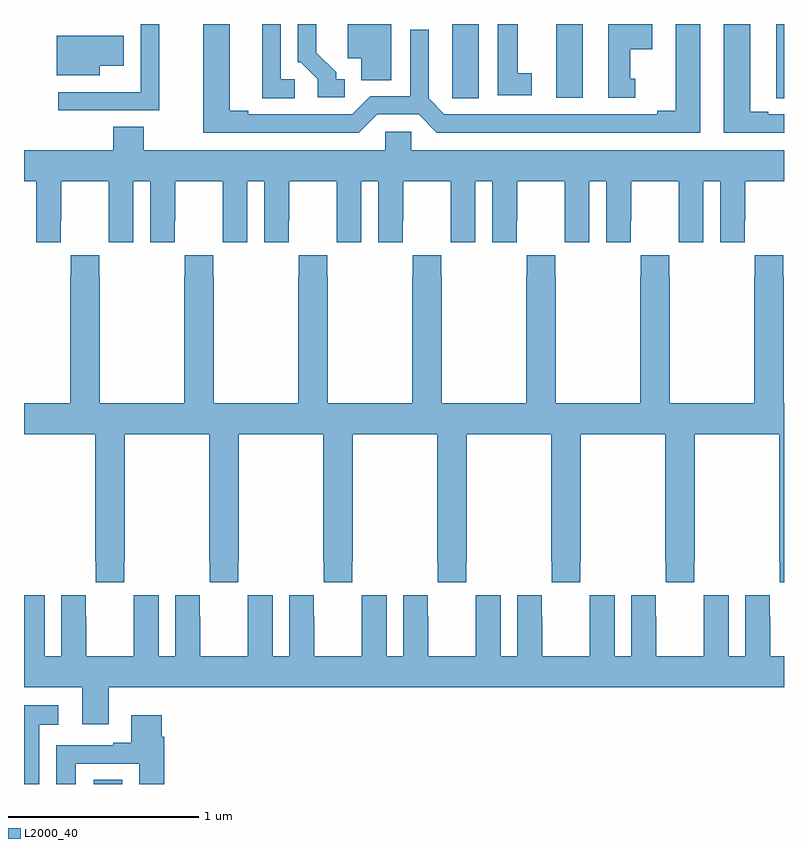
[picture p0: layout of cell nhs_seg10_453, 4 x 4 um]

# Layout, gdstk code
import gdstk
lib = gdstk.Library(unit=1e-6, precision=1e-09)
def R(c, l, rs):  # rectangles x0, y0, x1, y1
    for r in rs: c.add(gdstk.rectangle(r[:2], r[2:], *l))
def P(c, l, *ps):  # polygons
    for p in ps: c.add(gdstk.Polygon(p, *l))
L2000_40 = (2000, 40)

nhs_seg10_453 = lib.new_cell('nhs_seg10_453')
R(nhs_seg10_453, L2000_40, [(133.367,1274.5,133.516,1274.522), (135.8,1278.111,135.94,1278.5)])
P(nhs_seg10_453, L2000_40, [(135.673,1278.242),(135.598,1278.242),(135.598,1278.5),(135.494,1278.5),(135.494,1278.126),(135.673,1278.126)],
  [(137,1278.024),(136.918,1278.024),(136.918,1278.039),(136.822,1278.039),(136.822,1278.5),(136.682,1278.5),(136.682,1277.928),(137,1277.928)],
  [(136.216,1278.213),(136.192,1278.213),(136.192,1278.368),(136.306,1278.368),(136.306,1278.5),(136.076,1278.5),(136.076,1278.111),(136.216,1278.111)],
  [(137,1278.5),(136.958,1278.5),(136.958,1278.217),(136.959,1278.217),(136.959,1278.109),(137,1278.109)],
  [(134.859,1278.024),(135.077,1278.024),(135.173,1277.928),(136.558,1277.928),(136.558,1278.5),(136.43,1278.5),(136.43,1278.044),(136.334,1278.044),(136.334,1278.024),(135.213,1278.024),(135.129,1278.108),(135.129,1278.469),(135.033,1278.469),(135.033,1278.12),(134.823,1278.12),(134.727,1278.024),(134.179,1278.024),(134.179,1278.044),(134.083,1278.044),(134.083,1278.5),(133.943,1278.5),(133.943,1277.928),(134.763,1277.928)],
  [(134.689,1278.21),(134.644,1278.21),(134.644,1278.245),(134.539,1278.35),(134.539,1278.5),(134.442,1278.5),(134.442,1278.3),(134.457,1278.3),(134.547,1278.21),(134.547,1278.114),(134.689,1278.114)],
  [(133.713,1278.5),(133.614,1278.5),(133.614,1278.142),(133.613,1278.142),(133.613,1278.141),(133.179,1278.141),(133.179,1278.045),(133.713,1278.045)],
  [(134.425,1278.21),(134.352,1278.21),(134.352,1278.5),(134.255,1278.5),(134.255,1278.109),(134.425,1278.109)],
  [(135.394,1278.5),(135.254,1278.5),(135.254,1278.217),(135.255,1278.217),(135.255,1278.109),(135.394,1278.109)],
  [(134.932,1278.5),(134.705,1278.5),(134.705,1278.32),(134.774,1278.32),(134.774,1278.205),(134.932,1278.205)],
  [(133.399,1278.281),(133.525,1278.281),(133.525,1278.439),(133.172,1278.439),(133.172,1278.23),(133.399,1278.23)],
  [(133.194,1277.464),(133.195,1277.464),(133.195,1277.672),(133.445,1277.672),(133.445,1277.464),(133.446,1277.464),(133.446,1277.352),(133.576,1277.352),(133.576,1277.672),(133.664,1277.672),(133.664,1277.352),(133.794,1277.352),(133.794,1277.464),(133.795,1277.464),(133.795,1277.672),(134.045,1277.672),(134.045,1277.464),(134.046,1277.464),(134.046,1277.352),(134.176,1277.352),(134.176,1277.672),(134.264,1277.672),(134.264,1277.352),(134.394,1277.352),(134.394,1277.464),(134.395,1277.464),(134.395,1277.672),(134.645,1277.672),(134.645,1277.464),(134.646,1277.464),(134.646,1277.352),(134.776,1277.352),(134.776,1277.672),(134.864,1277.672),(134.864,1277.352),(134.994,1277.352),(134.994,1277.464),(134.995,1277.464),(134.995,1277.672),(135.245,1277.672),(135.245,1277.464),(135.246,1277.464),(135.246,1277.352),(135.376,1277.352),(135.376,1277.672),(135.464,1277.672),(135.464,1277.352),(135.594,1277.352),(135.594,1277.464),(135.595,1277.464),(135.595,1277.672),(135.845,1277.672),(135.845,1277.464),(135.846,1277.464),(135.846,1277.352),(135.976,1277.352),(135.976,1277.672),(136.064,1277.672),(136.064,1277.352),(136.194,1277.352),(136.194,1277.464),(136.195,1277.464),(136.195,1277.672),(136.445,1277.672),(136.445,1277.464),(136.446,1277.464),(136.446,1277.352),(136.576,1277.352),(136.576,1277.672),(136.664,1277.672),(136.664,1277.352),(136.794,1277.352),(136.794,1277.464),(136.795,1277.464),(136.795,1277.672),(137,1277.672),(137,1277.836),(135.039,1277.836),(135.039,1277.934),(134.901,1277.934),(134.901,1277.836),(133.629,1277.836),(133.629,1277.96),(133.469,1277.96),(133.469,1277.836),(133,1277.836),(133,1277.672),(133.064,1277.672),(133.064,1277.352),(133.194,1277.352)],
  [(135.175,1275.673),(135.177,1275.673),(135.177,1275.561),(135.327,1275.561),(135.327,1275.673),(135.33,1275.673),(135.33,1276.34),(135.775,1276.34),(135.775,1275.673),(135.777,1275.673),(135.777,1275.561),(135.927,1275.561),(135.927,1275.673),(135.93,1275.673),(135.93,1276.34),(136.375,1276.34),(136.375,1275.673),(136.377,1275.673),(136.377,1275.561),(136.527,1275.561),(136.527,1275.673),(136.53,1275.673),(136.53,1276.34),(136.975,1276.34),(136.975,1275.673),(136.977,1275.673),(136.977,1275.561),(137,1275.561),(137,1276.504),(136.998,1276.504),(136.998,1277.171),(136.995,1277.171),(136.995,1277.284),(136.845,1277.284),(136.845,1277.171),(136.843,1277.171),(136.843,1276.504),(136.398,1276.504),(136.398,1277.171),(136.395,1277.171),(136.395,1277.284),(136.245,1277.284),(136.245,1277.171),(136.243,1277.171),(136.243,1276.504),(135.798,1276.504),(135.798,1277.171),(135.795,1277.171),(135.795,1277.284),(135.645,1277.284),(135.645,1277.171),(135.643,1277.171),(135.643,1276.504),(135.198,1276.504),(135.198,1277.171),(135.195,1277.171),(135.195,1277.284),(135.045,1277.284),(135.045,1277.171),(135.043,1277.171),(135.043,1276.504),(134.598,1276.504),(134.598,1277.171),(134.595,1277.171),(134.595,1277.284),(134.445,1277.284),(134.445,1277.171),(134.443,1277.171),(134.443,1276.504),(133.998,1276.504),(133.998,1277.171),(133.995,1277.171),(133.995,1277.284),(133.845,1277.284),(133.845,1277.171),(133.843,1277.171),(133.843,1276.504),(133.398,1276.504),(133.398,1277.171),(133.395,1277.171),(133.395,1277.284),(133.245,1277.284),(133.245,1277.171),(133.243,1277.171),(133.243,1276.504),(133,1276.504),(133,1276.34),(133.375,1276.34),(133.375,1275.673),(133.377,1275.673),(133.377,1275.561),(133.527,1275.561),(133.527,1275.673),(133.53,1275.673),(133.53,1276.34),(133.975,1276.34),(133.975,1275.673),(133.977,1275.673),(133.977,1275.561),(134.127,1275.561),(134.127,1275.673),(134.13,1275.673),(134.13,1276.34),(134.575,1276.34),(134.575,1275.673),(134.577,1275.673),(134.577,1275.561),(134.727,1275.561),(134.727,1275.673),(134.73,1275.673),(134.73,1276.34),(135.175,1276.34)],
  [(134.996,1275.493),(134.996,1275.172),(134.908,1275.172),(134.908,1275.493),(134.778,1275.493),(134.778,1275.38),(134.777,1275.38),(134.777,1275.172),(134.527,1275.172),(134.527,1275.38),(134.526,1275.38),(134.526,1275.493),(134.396,1275.493),(134.396,1275.172),(134.308,1275.172),(134.308,1275.493),(134.178,1275.493),(134.178,1275.38),(134.177,1275.38),(134.177,1275.172),(133.927,1275.172),(133.927,1275.38),(133.926,1275.38),(133.926,1275.493),(133.796,1275.493),(133.796,1275.172),(133.708,1275.172),(133.708,1275.493),(133.578,1275.493),(133.578,1275.38),(133.577,1275.38),(133.577,1275.172),(133.327,1275.172),(133.327,1275.38),(133.326,1275.38),(133.326,1275.493),(133.196,1275.493),(133.196,1275.172),(133.108,1275.172),(133.108,1275.493),(133,1275.493),(133,1275.008),(133.307,1275.008),(133.307,1274.814),(133.447,1274.814),(133.447,1275.008),(137,1275.008),(137,1275.172),(136.927,1275.172),(136.927,1275.38),(136.926,1275.38),(136.926,1275.493),(136.796,1275.493),(136.796,1275.172),(136.708,1275.172),(136.708,1275.493),(136.578,1275.493),(136.578,1275.38),(136.577,1275.38),(136.577,1275.172),(136.327,1275.172),(136.327,1275.38),(136.326,1275.38),(136.326,1275.493),(136.196,1275.493),(136.196,1275.172),(136.108,1275.172),(136.108,1275.493),(135.978,1275.493),(135.978,1275.38),(135.977,1275.38),(135.977,1275.172),(135.727,1275.172),(135.727,1275.38),(135.726,1275.38),(135.726,1275.493),(135.596,1275.493),(135.596,1275.172),(135.508,1275.172),(135.508,1275.493),(135.378,1275.493),(135.378,1275.38),(135.377,1275.38),(135.377,1275.172),(135.127,1275.172),(135.127,1275.38),(135.126,1275.38),(135.126,1275.493)],
  [(133.081,1274.813),(133.18,1274.813),(133.18,1274.914),(133,1274.914),(133,1274.5),(133.081,1274.5)],
  [(133.273,1274.607),(133.607,1274.607),(133.607,1274.5),(133.739,1274.5),(133.739,1274.75),(133.726,1274.75),(133.726,1274.863),(133.565,1274.863),(133.565,1274.716),(133.469,1274.716),(133.469,1274.703),(133.169,1274.703),(133.169,1274.5),(133.273,1274.5)])

lib.write_gds('nhs_seg10_453.gds')
